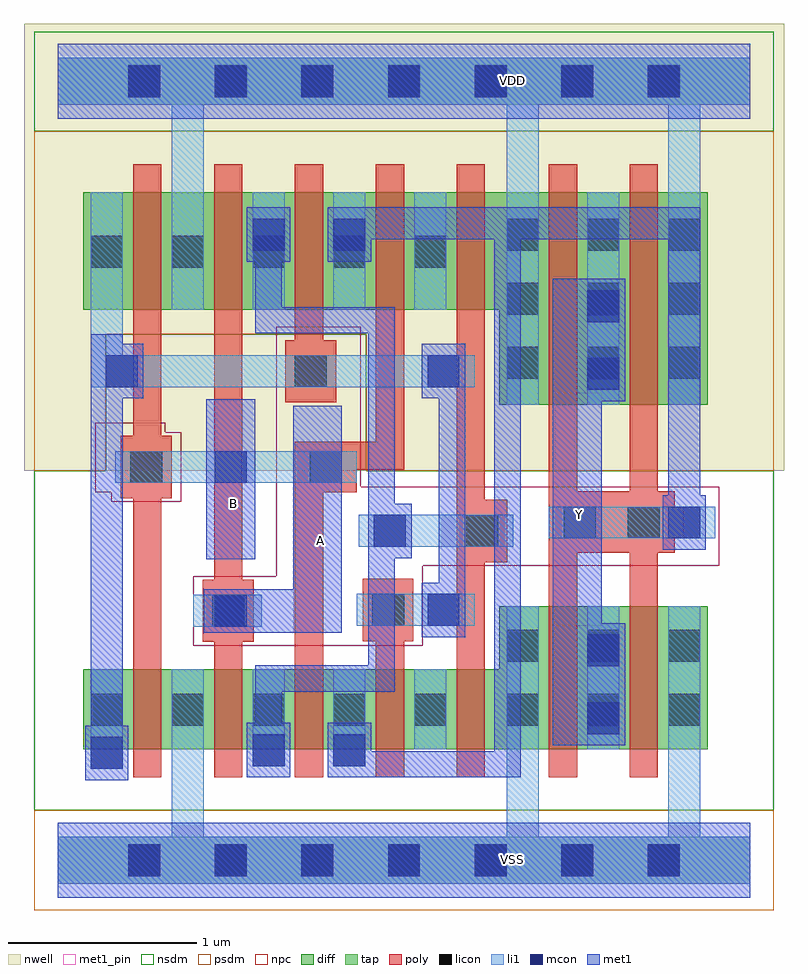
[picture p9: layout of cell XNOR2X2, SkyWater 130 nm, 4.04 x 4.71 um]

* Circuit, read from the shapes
.subckt XNOR2X2 A B VDD VSS Y
XM1 VSS B n1 VSS sky130_fd_pr__nfet_01v8 w=0.425 l=0.15
XM2 n2 A VSS VSS sky130_fd_pr__nfet_01v8 w=0.425 l=0.15
XM3 n3 B n2 VSS sky130_fd_pr__nfet_01v8 w=0.425 l=0.15
XM4 n4 n1 n3 VSS sky130_fd_pr__nfet_01v8 w=0.425 l=0.15
XM5 VSS n2 n4 VSS sky130_fd_pr__nfet_01v8 w=0.425 l=0.15
XM6 Y n3 VSS VSS sky130_fd_pr__nfet_01v8 w=0.76 l=0.15 m=2
XM7 VDD B n1 VDD sky130_fd_pr__pfet_01v8 w=0.625 l=0.15
XM8 n2 A VDD VDD sky130_fd_pr__pfet_01v8 w=0.625 l=0.15
XM9 n3 n1 n2 VDD sky130_fd_pr__pfet_01v8 w=0.625 l=0.15
XM10 n5 B n3 VDD sky130_fd_pr__pfet_01v8 w=0.625 l=0.15
XM11 VDD n2 n5 VDD sky130_fd_pr__pfet_01v8 w=0.625 l=0.15
XM12 Y n3 VDD VDD sky130_fd_pr__pfet_01v8 w=1.13 l=0.15 m=2
.ends

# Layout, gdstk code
from math import pi, radians
import gdstk
lib = gdstk.Library(unit=1e-6, precision=1e-09)
def R(c, l, rs):  # rectangles x0, y0, x1, y1
    for r in rs: c.add(gdstk.rectangle(r[:2], r[2:], *l))
def A(c, l, x, y, w, h, nx, ny, dx, dy):  # array of equal rectangles
    R(c, l, [(x+i*dx, y+j*dy, x+i*dx+w, y+j*dy+h) for i in range(nx) for j in range(ny)])
def P(c, l, *ps):  # polygons
    for p in ps: c.add(gdstk.Polygon(p, *l))
nwell = (64, 20)
diff = (65, 20)
tap = (65, 44)
poly = (66, 20)
licon = (66, 44)
li1 = (67, 20)
mcon = (67, 44)
met1_pin = (68, 16)
met1 = (68, 20)
nsdm = (93, 44)
psdm = (94, 20)
npc = (95, 20)

l1m1_c_cdns_751554744759 = lib.new_cell('L1M1_C_CDNS_751554744759')
R(l1m1_c_cdns_751554744759, li1, [(-0.165,-0.085,0.165,0.085)])
R(l1m1_c_cdns_751554744759, mcon, [(-0.085,-0.085,0.085,0.085)])
R(l1m1_c_cdns_751554744759, met1, [(-0.145,-0.115,0.145,0.115)])

pyl1con_c_cdns_751554744 = lib.new_cell('PYL1CON_C_CDNS_751554744751')
R(pyl1con_c_cdns_751554744, poly, [(-0.135,-0.165,0.135,0.165)])
R(pyl1con_c_cdns_751554744, licon, [(-0.085,-0.085,0.085,0.085)])
R(pyl1con_c_cdns_751554744, npc, [(-0.185,-0.185,0.185,0.185)])

l1m1_c_cdns_751554744753 = lib.new_cell('L1M1_C_CDNS_751554744753')
R(l1m1_c_cdns_751554744753, li1, [(-0.085,-0.165,0.085,0.165)])
R(l1m1_c_cdns_751554744753, mcon, [(-0.085,-0.085,0.085,0.085)])
R(l1m1_c_cdns_751554744753, met1, [(-0.115,-0.145,0.115,0.145)])

l1m1_c_cdns_751554744752 = lib.new_cell('L1M1_C_CDNS_751554744752')
R(l1m1_c_cdns_751554744752, li1, [(-0.085,-0.345,0.085,0.345)])
R(l1m1_c_cdns_751554744752, mcon, [(-0.085,-0.265,0.085,-0.095), (-0.085,0.095,0.085,0.265)])
R(l1m1_c_cdns_751554744752, met1, [(-0.115,-0.325,0.115,0.325)])

licondiff_c_cdns_7515547 = lib.new_cell('LICONDIFF_C_CDNS_751554744755')
R(licondiff_c_cdns_7515547, diff, [(-0.125,-0.145,0.125,0.145)])
R(licondiff_c_cdns_7515547, licon, [(-0.085,-0.085,0.085,0.085), (-0.085,-0.085,0.085,0.085)])

l1m1_c_cdns_751554744750 = lib.new_cell('L1M1_C_CDNS_751554744750')
R(l1m1_c_cdns_751554744750, li1, [(-0.165,-0.085,0.165,0.085)])
R(l1m1_c_cdns_751554744750, mcon, [(-0.085,-0.085,0.085,0.085)])
R(l1m1_c_cdns_751554744750, met1, [(-0.115,-0.145,0.115,0.145)])

l1m1_c_cdns_751554744751 = lib.new_cell('L1M1_C_CDNS_7515547447511')
R(l1m1_c_cdns_751554744751, li1, [(-0.085,-0.085,0.085,0.165)])
R(l1m1_c_cdns_751554744751, mcon, [(-0.085,-0.085,0.085,0.085)])
R(l1m1_c_cdns_751554744751, met1, [(-0.115,-0.145,0.115,0.145)])

c_pyl1con_c_cdns_751554744 = lib.new_cell('PYL1CON_C_CDNS_7515547447517')
R(c_pyl1con_c_cdns_751554744, poly, [(-0.165,-0.135,0.165,0.135)])
R(c_pyl1con_c_cdns_751554744, licon, [(-0.085,-0.085,0.085,0.085)])
R(c_pyl1con_c_cdns_751554744, npc, [(-0.185,-0.185,0.185,0.185)])

c_l1m1_c_cdns_751554744751 = lib.new_cell('L1M1_C_CDNS_7515547447518')
R(c_l1m1_c_cdns_751554744751, li1, [(-0.085,-0.06,0.085,0.19)])
R(c_l1m1_c_cdns_751554744751, mcon, [(-0.085,-0.06,0.085,0.11)])
R(c_l1m1_c_cdns_751554744751, met1, [(-0.115,-0.12,0.115,0.17)])

xnor2x2 = lib.new_cell('XNOR2X2')
R(xnor2x2, nwell, [(-0.18,2.07,3.86,4.445)])
P(xnor2x2, diff, [(3.455,3.55),(0.135,3.55),(0.135,2.925),(2.345,2.925),(2.345,2.42),(3.455,2.42)],
  [(3.455,1.35),(2.345,1.35),(2.345,1.015),(0.135,1.015),(0.135,0.59),(3.455,0.59)])
R(xnor2x2, poly, [(0.4,0.44,0.55,3.7), (0.83,0.44,0.98,3.7), (1.69,0.44,1.84,1.35), (2.12,0.44,2.27,3.7), (1.26,2.765,1.41,3.7)])
P(xnor2x2, poly, [(1.84,3.7),(1.69,3.7),(1.69,2.225),(1.26,2.225),(1.26,0.44),(1.41,0.44),(1.41,2.075),(1.84,2.075)],
  [(3.33,1.88),(3.28,1.88),(3.28,1.96),(3.19,1.96),(3.19,3.7),(3.04,3.7),(3.04,1.96),(2.76,1.96),(2.76,3.7),(2.61,3.7),(2.61,0.44),(2.76,0.44),(2.76,1.635),(3.04,1.635),(3.04,0.44),(3.19,0.44),(3.19,1.635),(3.28,1.635),(3.28,1.71),(3.33,1.71)])
A(xnor2x2, licon, 0.375, -0.085, 0.17, 0.17, 7, 2, 0.46, 4.14)
A(xnor2x2, licon, 0.175, 0.715, 0.17, 0.17, 4, 2, 0.43, 2.435)
A(xnor2x2, licon, 2.385, 0.715, 0.17, 0.17, 3, 2, 0.43, 0.34)
A(xnor2x2, licon, 2.385, 2.56, 0.17, 0.17, 3, 3, 0.43, 0.34)
R(xnor2x2, li1, [(0.175,0.59,0.345,1.015), (1.035,0.59,1.205,1.015), (1.465,0.59,1.635,1.015), (2.815,0.59,2.985,1.35), (2.815,2.42,2.985,3.55), (1.035,2.925,1.205,3.55), (1.465,2.925,1.635,3.55)])
P(xnor2x2, li1, [(1.935,2.685),(0.345,2.685),(0.345,3.55),(0.175,3.55),(0.175,2.515),(1.935,2.515)],
  [(3.68,4.265),(0,4.265),(0,4.015),(0.605,4.015),(0.605,2.925),(0.775,2.925),(0.775,4.015),(2.385,4.015),(2.385,2.42),(2.555,2.42),(2.555,4.015),(3.245,4.015),(3.245,2.42),(3.415,2.42),(3.415,4.015),(3.68,4.015)],
  [(3.68,0.125),(3.415,0.125),(3.415,1.35),(3.245,1.35),(3.245,0.125),(2.555,0.125),(2.555,1.35),(2.385,1.35),(2.385,0.125),(0.775,0.125),(0.775,1.015),(0.605,1.015),(0.605,0.125),(0,0.125),(0,-0.125),(3.68,-0.125)])
A(xnor2x2, mcon, 0.375, -0.085, 0.17, 0.17, 7, 2, 0.46, 4.14)
R(xnor2x2, met1_pin, [(1.25,1.21,1.51,2.415), (2.63,1.245,2.89,2.485), (0.79,1.6,1.05,2.45)])
P(xnor2x2, met1, [(1.51,2.415),(1.25,2.415),(1.25,1.44),(0.92,1.44),(0.92,1.21),(1.51,1.21)],
  [(3.415,3.47),(1.48,3.47),(1.48,3.3),(2.32,3.3),(2.32,0.58),(1.54,0.58),(1.54,0.44),(2.46,0.44),(2.46,3.3),(3.245,3.3),(3.245,1.795),(3.415,1.795)])
R(xnor2x2, nsdm, [(-0.125,3.875,3.805,4.405)])
P(xnor2x2, nsdm, [(3.805,2.07),(1.64,2.07),(1.64,2.795),(0.255,2.795),(0.255,2.07),(-0.125,2.07),(-0.125,0.265),(3.805,0.265)])
R(xnor2x2, psdm, [(-0.125,-0.265,3.805,0.265)])
P(xnor2x2, psdm, [(3.805,3.875),(-0.125,3.875),(-0.125,2.07),(0.255,2.07),(0.255,2.795),(1.64,2.795),(1.64,2.07),(3.805,2.07)])
R(xnor2x2, npc, [(0.2,1.955,0.57,2.325)])
P(xnor2x2, npc, [(3.515,1.985),(1.61,1.985),(1.61,2.835),(1.16,2.835),(1.16,1.51),(0.72,1.51),(0.72,1.14),(1.94,1.14),(1.94,1.565),(3.515,1.565)])
xnor2x2.add(gdstk.FlexPath([(1.98,2.925),(1.98,3.55)], 0.17, ends="flush", simple_path=True, layer=67, datatype=20))  # li1
xnor2x2.add(gdstk.FlexPath([(1.98,0.59),(1.98,1.015)], 0.17, ends="flush", simple_path=True, layer=67, datatype=20))  # li1
xnor2x2.add(gdstk.FlexPath([(2.61,1.795),(3.28,1.795)], 0.17, ends="flush", simple_path=True, layer=67, datatype=20))  # li1
xnor2x2.add(gdstk.FlexPath([(2.215,1.33),(1.59,1.33)], 0.17, ends="flush", simple_path=True, layer=67, datatype=20))  # li1
xnor2x2.add(gdstk.FlexPath([(1.59,2.09),(0.305,2.09)], 0.17, ends="flush", simple_path=True, layer=67, datatype=20))  # li1
xnor2x2.add(gdstk.FlexPath([(1.6,1.75),(2.42,1.75)], 0.17, ends="flush", simple_path=True, layer=67, datatype=20))  # li1
xnor2x2.add(gdstk.FlexPath([(0.72,1.325),(1.07,1.325)], 0.17, ends="flush", simple_path=True, layer=67, datatype=20))  # li1
xnor2x2.add(gdstk.FlexPath([(0,0),(3.68,0)], 0.4, ends="flush", simple_path=True, layer=68, datatype=20))  # met1
xnor2x2.add(gdstk.FlexPath([(0,4.14),(3.68,4.14)], 0.4, ends="flush", simple_path=True, layer=68, datatype=20))  # met1
xnor2x2.add(gdstk.FlexPath([(2.095,1.35),(2.095,2.65)], 0.14, ends="flush", simple_path=True, layer=68, datatype=20))  # met1
xnor2x2.add(gdstk.FlexPath([(0.26,2.795),(0.26,0.425)], 0.17, ends="flush", simple_path=True, layer=68, datatype=20))  # met1
xnor2x2.add(gdstk.FlexPath([(1.12,0.585),(1.12,0.965),(1.72,0.965),(1.72,2.87),(1.12,2.87),(1.12,3.325)], 0.14, ends="flush", simple_path=True, layer=68, datatype=20))  # met1
xnor2x2.add(gdstk.FlexPath([(2.76,0.61),(2.76,3.09)], 0.26, ends="flush", simple_path=True, layer=68, datatype=20))  # met1
xnor2x2.add(gdstk.FlexPath([(0.92,1.6),(0.92,2.45)], 0.26, ends="flush", simple_path=True, layer=68, datatype=20))  # met1
xnor2x2.add(gdstk.FlexPath([(0,4.14),(3.68,4.14)], 0.25, ends="flush", simple_path=True, layer=65, datatype=44))  # tap
xnor2x2.add(gdstk.FlexPath([(0,0),(3.68,0)], 0.25, ends="flush", simple_path=True, layer=65, datatype=44))  # tap
xnor2x2.add(gdstk.FlexPath([(0,4.14),(3.68,4.14)], 0.4, ends="flush", simple_path=True, layer=68, datatype=16))  # met1_pin
xnor2x2.add(gdstk.FlexPath([(0,0),(3.68,0)], 0.4, ends="flush", simple_path=True, layer=68, datatype=16))  # met1_pin
xnor2x2.add(gdstk.Reference(l1m1_c_cdns_751554744759, (0.92,1.325), x_reflection=True))
xnor2x2.add(gdstk.Reference(pyl1con_c_cdns_751554744, (3.115,1.795), rotation=3*pi/2, x_reflection=True))
xnor2x2.add(gdstk.Reference(pyl1con_c_cdns_751554744, (2.775,1.795), rotation=3*pi/2, x_reflection=True))
xnor2x2.add(gdstk.Reference(pyl1con_c_cdns_751554744, (0.905,1.325), x_reflection=True))
xnor2x2.add(gdstk.Reference(pyl1con_c_cdns_751554744, (2.255,1.75), x_reflection=True))
xnor2x2.add(gdstk.Reference(pyl1con_c_cdns_751554744, (0.47,2.09), x_reflection=True))
xnor2x2.add(gdstk.Reference(pyl1con_c_cdns_751554744, (1.755,1.33), x_reflection=True))
xnor2x2.add(gdstk.Reference(pyl1con_c_cdns_751554744, (1.345,2.6), x_reflection=True))
xnor2x2.add(gdstk.Reference(l1m1_c_cdns_751554744753, (1.12,3.325)))
xnor2x2.add(gdstk.Reference(l1m1_c_cdns_751554744753, (1.55,3.325)))
xnor2x2.add(gdstk.Reference(l1m1_c_cdns_751554744752, (2.9,2.765)))
xnor2x2.add(gdstk.Reference(l1m1_c_cdns_751554744752, (2.9,0.935)))
xnor2x2.add(gdstk.Reference(licondiff_c_cdns_7515547, (1.98,3.235)))
xnor2x2.add(gdstk.Reference(licondiff_c_cdns_7515547, (1.98,0.8)))
xnor2x2.add(gdstk.Reference(l1m1_c_cdns_751554744750, (0.92,2.09), x_reflection=True))
xnor2x2.add(gdstk.Reference(l1m1_c_cdns_751554744750, (0.34,2.6)))
xnor2x2.add(gdstk.Reference(l1m1_c_cdns_751554744750, (1.765,1.75)))
xnor2x2.add(gdstk.Reference(l1m1_c_cdns_751554744750, (2.05,2.6)))
xnor2x2.add(gdstk.Reference(l1m1_c_cdns_751554744750, (2.05,1.33)))
xnor2x2.add(gdstk.Reference(l1m1_c_cdns_751554744750, (3.33,1.795)))
xnor2x2.add(gdstk.Reference(l1m1_c_cdns_751554744751, (1.12,0.585)))
xnor2x2.add(gdstk.Reference(l1m1_c_cdns_751554744751, (1.55,0.585)))
xnor2x2.add(gdstk.Reference(c_pyl1con_c_cdns_751554744, (1.425,2.09), x_reflection=True))
xnor2x2.add(gdstk.Reference(c_l1m1_c_cdns_751554744751, (0.26,0.545)))
xnor2x2.add(gdstk.Label('VDD', (2.415,4.145), layer=68, texttype=5))
xnor2x2.add(gdstk.Label('B', (0.935,1.895), layer=68, texttype=5))
xnor2x2.add(gdstk.Label('Y', (2.775,1.84), layer=68, texttype=5))
xnor2x2.add(gdstk.Label('A', (1.395,1.7), layer=68, texttype=5))
xnor2x2.add(gdstk.Label('VSS', (2.415,0.005), layer=68, texttype=5))

lib.write_gds('XNOR2X2.gds')
